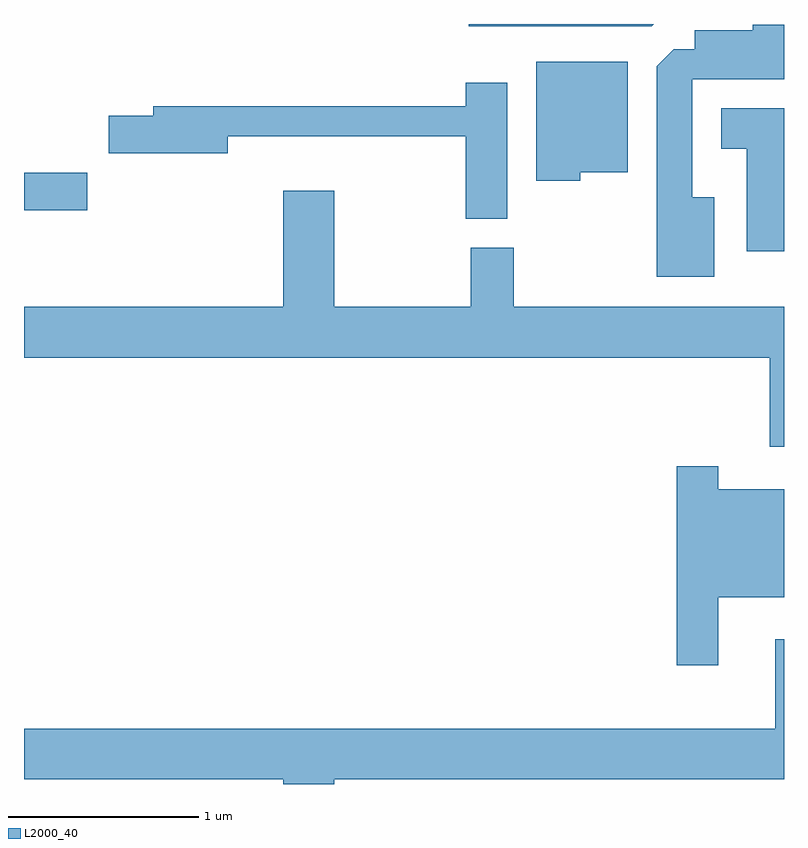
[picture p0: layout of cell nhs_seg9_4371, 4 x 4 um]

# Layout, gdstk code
import gdstk
lib = gdstk.Library(unit=1e-6, precision=1e-09)
def R(c, l, rs):  # rectangles x0, y0, x1, y1
    for r in rs: c.add(gdstk.rectangle(r[:2], r[2:], *l))
def P(c, l, *ps):  # polygons
    for p in ps: c.add(gdstk.Polygon(p, *l))
L2000_40 = (2000, 40)

nhs_seg9_4371 = lib.new_cell('nhs_seg9_4371')
R(nhs_seg9_4371, L2000_40, [(313.611,2021.451,313.944,2021.649)])
P(nhs_seg9_4371, L2000_40, [(316.925,2022.432),(315.953,2022.432),(315.953,2022.421),(316.914,2022.421)],
  [(317.244,2021.519),(317.129,2021.519),(317.129,2022.141),(317.611,2022.141),(317.611,2022.429),(317.446,2022.429),(317.446,2022.399),(317.141,2022.399),(317.141,2022.299),(317.032,2022.299),(316.941,2022.209),(316.941,2021.101),(317.244,2021.101)],
  [(316.539,2021.651),(316.789,2021.651),(316.789,2022.234),(316.306,2022.234),(316.306,2021.606),(316.539,2021.606)],
  [(316.154,2022.124),(315.936,2022.124),(315.936,2021.999),(314.291,2021.999),(314.291,2021.949),(314.056,2021.949),(314.056,2021.751),(314.684,2021.751),(314.684,2021.841),(315.936,2021.841),(315.936,2021.406),(316.154,2021.406)],
  [(317.611,2021.989),(317.281,2021.989),(317.281,2021.776),(317.416,2021.776),(317.416,2021.236),(317.611,2021.236)],
  [(317.611,2020.944),(316.189,2020.944),(316.189,2021.254),(315.961,2021.254),(315.961,2020.944),(315.244,2020.944),(315.244,2021.554),(314.976,2021.554),(314.976,2020.944),(313.611,2020.944),(313.611,2020.676),(317.536,2020.676),(317.536,2020.206),(317.611,2020.206)],
  [(317.264,2019.416),(317.611,2019.416),(317.611,2019.984),(317.264,2019.984),(317.264,2020.104),(317.046,2020.104),(317.046,2019.056),(317.264,2019.056)],
  [(315.244,2018.456),(317.611,2018.456),(317.611,2019.193),(317.566,2019.193),(317.566,2018.724),(313.611,2018.724),(313.611,2018.456),(314.976,2018.456),(314.976,2018.432),(315.244,2018.432)])

lib.write_gds('nhs_seg9_4371.gds')
